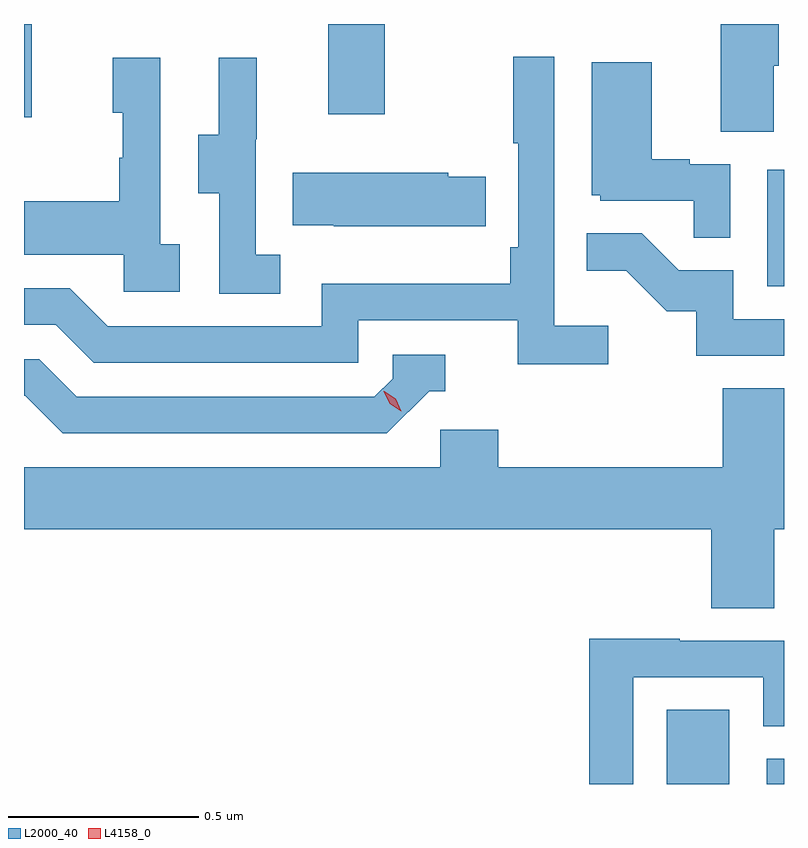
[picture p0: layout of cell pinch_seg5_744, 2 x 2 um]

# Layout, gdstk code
import gdstk
lib = gdstk.Library(unit=1e-6, precision=1e-09)
def R(c, l, rs):  # rectangles x0, y0, x1, y1
    for r in rs: c.add(gdstk.rectangle(r[:2], r[2:], *l))
def P(c, l, *ps):  # polygons
    for p in ps: c.add(gdstk.Polygon(p, *l))
L2000_40 = (2000, 40)
L4158_0 = (4158, 0)

pinch_seg5_744 = lib.new_cell('pinch_seg5_744')
R(pinch_seg5_744, L2000_40, [(880.826,913.366,880.99,913.561), (881.088,913.366,881.134,913.433), (881.09,914.676,881.134,914.983), (879.134,915.12,879.155,915.366), (879.935,915.129,880.083,915.366)])
P(pinch_seg5_744, L2000_40, [(881.107,915.256),(881.12,915.256),(881.12,915.366),(880.967,915.366),(880.967,915.082),(881.107,915.082)],
  [(880.672,914.572),(880.53,914.572),(880.53,915.28),(880.422,915.28),(880.422,915.052),(880.434,915.052),(880.434,914.779),(880.414,914.779),(880.414,914.683),(879.918,914.683),(879.918,914.571),(879.354,914.571),(879.255,914.67),(879.134,914.67),(879.134,914.574),(879.218,914.574),(879.317,914.475),(880.014,914.475),(880.014,914.586),(880.433,914.586),(880.433,914.47),(880.672,914.47)],
  [(879.544,914.786),(879.492,914.786),(879.492,915.277),(879.368,915.277),(879.368,915.132),(879.394,915.132),(879.394,915.014),(879.384,915.014),(879.384,914.899),(879.134,914.899),(879.134,914.759),(879.396,914.759),(879.396,914.661),(879.544,914.661)],
  [(879.808,914.759),(879.744,914.759),(879.744,915.063),(879.746,915.063),(879.746,915.277),(879.647,915.277),(879.647,915.075),(879.593,915.075),(879.593,914.92),(879.648,914.92),(879.648,914.656),(879.808,914.656)],
  [(880.992,914.997),(880.886,914.997),(880.886,915.01),(880.786,915.01),(880.786,915.265),(880.628,915.265),(880.628,914.916),(880.65,914.916),(880.65,914.901),(880.897,914.901),(880.897,914.803),(880.992,914.803)],
  [(880.349,914.964),(880.251,914.964),(880.251,914.974),(879.841,914.974),(879.841,914.837),(879.949,914.837),(879.949,914.834),(880.349,914.834)],
  [(881.134,914.589),(881.001,914.589),(881.001,914.718),(880.857,914.718),(880.759,914.816),(880.615,914.816),(880.615,914.717),(880.719,914.717),(880.826,914.61),(880.903,914.61),(880.903,914.493),(881.134,914.493)],
  [(880.2,914.4),(880.243,914.4),(880.243,914.496),(880.104,914.496),(880.104,914.433),(880.056,914.385),(879.273,914.385),(879.174,914.484),(879.134,914.484),(879.134,914.388),(879.137,914.388),(879.236,914.289),(880.089,914.289)],
  [(880.943,913.828),(881.108,913.828),(881.108,914.036),(881.134,914.036),(881.134,914.408),(880.973,914.408),(880.973,914.2),(880.382,914.2),(880.382,914.298),(880.23,914.298),(880.23,914.2),(879.134,914.2),(879.134,914.036),(880.943,914.036)],
  [(880.737,913.647),(881.079,913.647),(881.079,913.518),(881.134,913.518),(881.134,913.743),(880.859,913.743),(880.859,913.748),(880.621,913.748),(880.621,913.366),(880.737,913.366)])
P(pinch_seg5_744, L4158_0, [(880.127,914.347),(880.097,914.367),(880.081,914.4),(880.081,914.4),(880.082,914.4),(880.112,914.38),(880.127,914.347),(880.127,914.347)])

lib.write_gds('pinch_seg5_744.gds')
